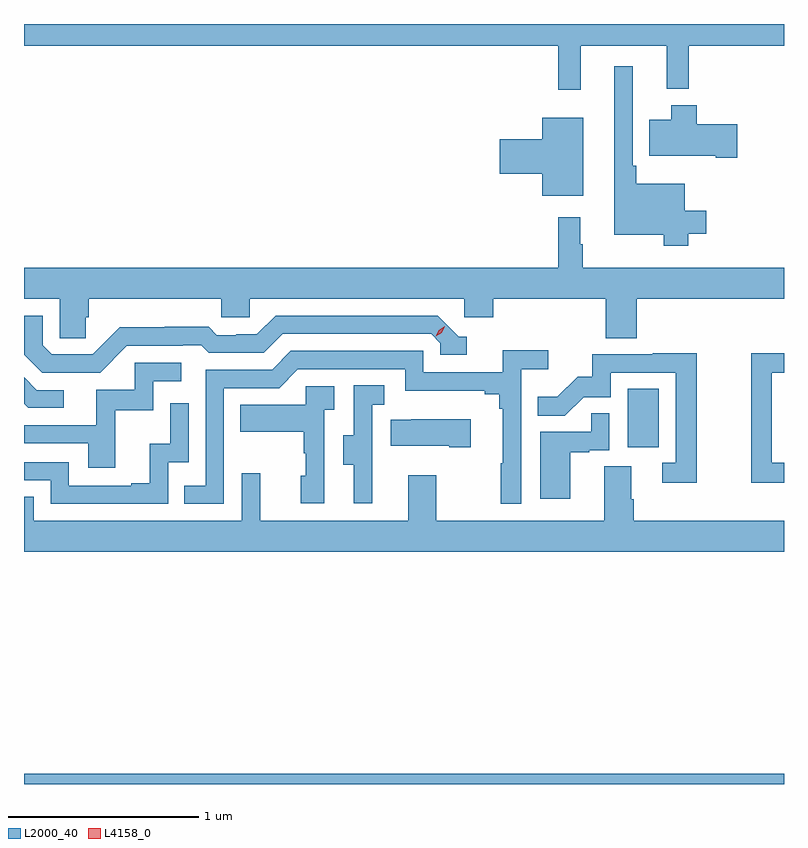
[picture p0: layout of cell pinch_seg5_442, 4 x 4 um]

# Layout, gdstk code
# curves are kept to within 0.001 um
import gdstk
lib = gdstk.Library(unit=1e-6, precision=1e-09)
def R(c, l, rs):  # rectangles x0, y0, x1, y1
    for r in rs: c.add(gdstk.rectangle(r[:2], r[2:], *l))
def P(c, l, *ps):  # polygons
    for p in ps: c.add(gdstk.Polygon(p, *l))
L2000_40 = (2000, 40)
L4158_0 = (4158, 0)

pinch_seg5_442 = lib.new_cell('pinch_seg5_442')
R(pinch_seg5_442, L2000_40, [(899.668,871.522,903.668,871.576), (902.846,873.294,903.01,873.601)])
P(pinch_seg5_442, L2000_40, [(902.597,875.408),(903.05,875.408),(903.05,875.18),(903.167,875.18),(903.167,875.408),(903.668,875.408),(903.668,875.522),(899.668,875.522),(899.668,875.408),(902.479,875.408),(902.479,875.175),(902.597,875.175)],
  [(903.164,874.418),(903.259,874.418),(903.259,874.54),(903.145,874.54),(903.145,874.681),(902.891,874.681),(902.891,874.777),(902.871,874.777),(902.871,875.299),(902.774,875.299),(902.774,874.412),(903.036,874.412),(903.036,874.355),(903.164,874.355)],
  [(903.421,874.995),(903.209,874.995),(903.209,875.095),(903.074,875.095),(903.074,875.017),(902.96,875.017),(902.96,874.829),(903.308,874.829),(903.308,874.817),(903.421,874.817)],
  [(902.611,875.029),(902.396,875.029),(902.396,874.916),(902.172,874.916),(902.172,874.733),(902.396,874.733),(902.396,874.619),(902.611,874.619)],
  [(899.993,873.978),(900.008,873.978),(900.008,874.076),(900.705,874.076),(900.705,873.978),(900.855,873.978),(900.855,874.076),(901.986,874.076),(901.986,873.978),(902.138,873.978),(902.138,874.076),(902.729,874.076),(902.729,873.868),(902.894,873.868),(902.894,874.076),(903.668,874.076),(903.668,874.24),(902.608,874.24),(902.608,874.364),(902.596,874.364),(902.596,874.504),(902.479,874.504),(902.479,874.24),(899.668,874.24),(899.668,874.076),(899.856,874.076),(899.856,873.868),(899.993,873.868)],
  [(900.21,873.828),(900.503,873.828),(900.503,873.831),(900.602,873.831),(900.641,873.792),(900.93,873.792),(901.029,873.891),(901.812,873.891),(901.86,873.843),(901.86,873.78),(901.999,873.78),(901.999,873.876),(901.956,873.876),(901.845,873.987),(900.992,873.987),(900.893,873.888),(900.786,873.888),(900.786,873.885),(900.683,873.885),(900.641,873.928),(900.408,873.928),(900.408,873.925),(900.172,873.925),(900.03,873.783),(899.814,873.783),(899.766,873.831),(899.766,873.987),(899.668,873.987),(899.669,873.781),(899.763,873.687),(900.069,873.687)],
  [(900.72,873.606),(901.011,873.606),(901.11,873.705),(901.674,873.705),(901.674,873.593),(902.093,873.593),(902.093,873.574),(902.17,873.574),(902.17,873.497),(902.189,873.497),(902.189,873.209),(902.178,873.209),(902.178,872.997),(902.286,872.997),(902.286,873.704),(902.428,873.704),(902.428,873.806),(902.189,873.806),(902.189,873.69),(901.77,873.69),(901.77,873.801),(901.073,873.801),(900.974,873.702),(900.624,873.702),(900.624,873.093),(900.511,873.093),(900.511,872.997),(900.72,872.997)],
  [(903.208,873.788),(902.977,873.788),(902.977,873.783),(902.659,873.783),(902.659,873.666),(902.582,873.666),(902.475,873.559),(902.371,873.559),(902.371,873.46),(902.515,873.46),(902.613,873.558),(902.757,873.558),(902.757,873.687),(903.099,873.687),(903.099,873.213),(903.027,873.213),(903.027,873.108),(903.208,873.108)],
  [(903.668,873.213),(903.603,873.213),(903.603,873.687),(903.668,873.687),(903.668,873.788),(903.495,873.788),(903.495,873.108),(903.668,873.108)],
  [(900.149,873.489),(900.348,873.489),(900.348,873.642),(900.496,873.642),(900.496,873.738),(900.252,873.738),(900.252,873.597),(900.047,873.597),(900.047,873.411),(899.668,873.411),(899.668,873.315),(900.005,873.315),(900.005,873.186),(900.149,873.186)],
  [(899.878,873.594),(899.736,873.594),(899.668,873.662),(899.668,873.523),(899.69,873.501),(899.878,873.501)],
  [(901.502,873.213),(901.5,873.213),(901.5,873.517),(901.564,873.517),(901.564,873.62),(901.404,873.62),(901.404,873.357),(901.349,873.357),(901.349,873.202),(901.403,873.202),(901.403,873),(901.502,873)],
  [(901.248,873.491),(901.3,873.491),(901.3,873.615),(901.152,873.615),(901.152,873.517),(900.805,873.517),(900.805,873.377),(901.14,873.377),(901.14,873.263),(901.15,873.263),(901.15,873.144),(901.124,873.144),(901.124,873),(901.248,873)],
  [(900.426,873.216),(900.534,873.216),(900.534,873.526),(900.438,873.526),(900.438,873.314),(900.329,873.314),(900.329,873.106),(900.233,873.106),(900.233,873.093),(899.904,873.093),(899.904,873.216),(899.668,873.216),(899.668,873.12),(899.808,873.12),(899.808,872.997),(900.426,872.997)],
  [(902.542,873.267),(902.642,873.267),(902.642,873.279),(902.748,873.279),(902.748,873.473),(902.653,873.473),(902.653,873.375),(902.384,873.375),(902.384,873.024),(902.542,873.024)],
  [(902.02,873.442),(901.705,873.442),(901.705,873.439),(901.597,873.439),(901.597,873.302),(901.907,873.302),(901.907,873.295),(902.02,873.295)],
  [(903.668,872.908),(902.876,872.908),(902.876,873.02),(902.863,873.02),(902.863,873.194),(902.723,873.194),(902.723,872.908),(901.839,872.908),(901.839,873.148),(901.691,873.148),(901.691,872.908),(900.911,872.908),(900.911,873.157),(900.813,873.157),(900.813,872.908),(899.718,872.908),(899.718,873.035),(899.668,873.035),(899.668,872.744),(903.668,872.744)])
P(pinch_seg5_442, L4158_0, [(901.835,873.878),(901.835,873.878),(901.851,873.911),(901.882,873.93),(901.882,873.93),(901.882,873.93),(901.866,873.897),(901.835,873.878)])

lib.write_gds('pinch_seg5_442.gds')
